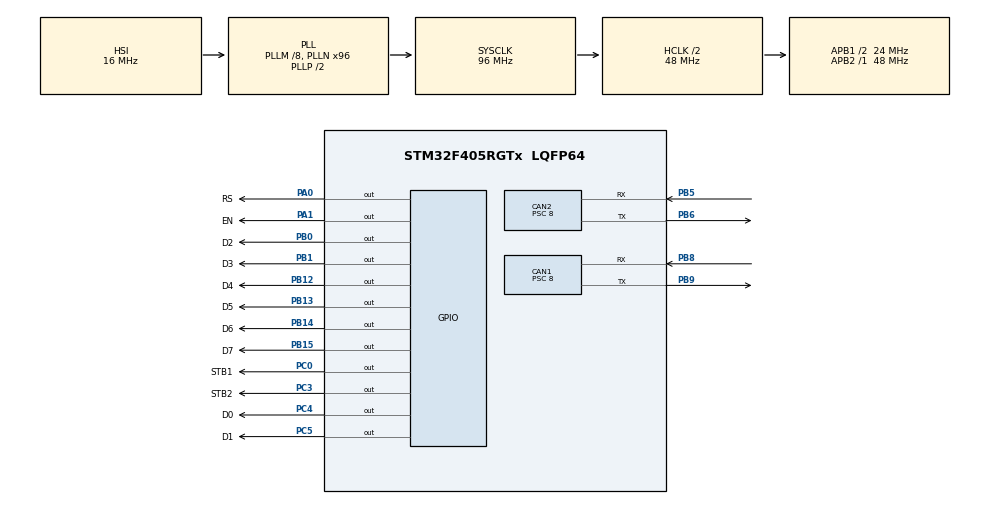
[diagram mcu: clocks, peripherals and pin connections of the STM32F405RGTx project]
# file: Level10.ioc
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CAN1.BS1=CAN_BS1_3TQ
CAN1.BS2=CAN_BS2_2TQ
CAN1.CalculateBaudRate=500000
CAN1.CalculateTimeBit=2000
CAN1.CalculateTimeQuantum=333.3333333333333
CAN1.Prescaler=8
CAN2.BS1=CAN_BS1_3TQ
CAN2.BS2=CAN_BS2_2TQ
CAN2.CalculateBaudRate=500000
CAN2.CalculateTimeBit=2000
CAN2.CalculateTimeQuantum=333.3333333333333
CAN2.Prescaler=8
Mcu.Family=STM32F4
Mcu.Name=STM32F405RGTx
Mcu.Package=LQFP64
NVIC.PriorityGroup=NVIC_PRIORITYGROUP_4
PA0-WKUP.GPIO_Label=RS
PA0-WKUP.Signal=GPIO_Output
PA1.GPIO_Label=EN
PA1.Signal=GPIO_Output
PA13.Mode=Serial_Wire
PA13.Signal=SYS_JTMS-SWDIO
PA14.Mode=Serial_Wire
PA14.Signal=SYS_JTCK-SWCLK
PB0.GPIO_Label=D2
PB0.Signal=GPIO_Output
PB1.GPIO_Label=D3
PB1.Signal=GPIO_Output
PB12.GPIO_Label=D4
PB12.Signal=GPIO_Output
PB13.GPIO_Label=D5
PB13.Signal=GPIO_Output
PB14.GPIO_Label=D6
PB14.Signal=GPIO_Output
PB15.GPIO_Label=D7
PB15.Signal=GPIO_Output
PB5.Mode=CAN_Activate
PB5.Signal=CAN2_RX
PB6.Mode=CAN_Activate
PB6.Signal=CAN2_TX
PB8.Mode=CAN_Activate
PB8.Signal=CAN1_RX
PB9.Mode=CAN_Activate
PB9.Signal=CAN1_TX
PC0.GPIO_Label=STB1
PC0.Signal=GPIO_Output
PC14-OSC32_IN.Mode=LSE-External-Oscillator
PC14-OSC32_IN.Signal=RCC_OSC32_IN
PC15-OSC32_OUT.Mode=LSE-External-Oscillator
PC15-OSC32_OUT.Signal=RCC_OSC32_OUT
PC3.GPIO_Label=STB2
PC3.Signal=GPIO_Output
PC4.GPIO_Label=D0
PC4.Signal=GPIO_Output
PC5.GPIO_Label=D1
PC5.Signal=GPIO_Output
PH0-OSC_IN.Mode=HSE-External-Oscillator
PH0-OSC_IN.Signal=RCC_OSC_IN
PH1-OSC_OUT.Mode=HSE-External-Oscillator
PH1-OSC_OUT.Signal=RCC_OSC_OUT
ProjectManager.HeapSize=0x200
ProjectManager.StackSize=0x400
ProjectManager.TargetToolchain=STM32CubeIDE
RCC.48MHZClocksFreq_Value=48000000
RCC.AHBCLKDivider=RCC_SYSCLK_DIV2
RCC.AHBFreq_Value=48000000
RCC.APB1CLKDivider=RCC_HCLK_DIV2
RCC.APB1Freq_Value=24000000
RCC.APB1TimFreq_Value=48000000
RCC.APB2Freq_Value=48000000
RCC.APB2TimFreq_Value=48000000
RCC.CortexFreq_Value=48000000
RCC.HCLKFreq_Value=48000000
RCC.HSE_VALUE=25000000
RCC.HSI_VALUE=16000000
RCC.PLLM=8
RCC.PLLN=96
RCC.SYSCLKFreq_VALUE=96000000
RCC.SYSCLKSource=RCC_SYSCLKSOURCE_PLLCLK
RCC.VCOOutputFreq_Value=192000000
board=custom

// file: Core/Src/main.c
/* USER CODE BEGIN Header */
/**
  ******************************************************************************
  * @file           : main.c
  * @brief          : Main program body
  ******************************************************************************
  * @attention
  *
  *
  *
  * This software is licensed under terms that can be found in the LICENSE file
  * in the root directory of this software component.
  * If no LICENSE file comes with this software, it is provided AS-IS.
  *
  ******************************************************************************
  */
/* USER CODE END Header */
#include "main.h"

CAN_HandleTypeDef hcan1;
CAN_HandleTypeDef hcan2;

/* USER CODE BEGIN PV */
CAN_TxHeaderTypeDef  p1header, p3header;
CAN_RxHeaderTypeDef  p2header, p4header;
uint32_t pTxMailbox[4], RxFifo[4];
CAN_FilterTypeDef  sFilterConfig;
uint8_t aData[8], received_data[8], received_data1[8];
uint8_t can_data, Can_id;
/* USER CODE END PV */

void SystemClock_Config(void);
static void MX_GPIO_Init(void);
static void MX_CAN1_Init(void);
static void MX_CAN2_Init(void);
/* USER CODE BEGIN PFP */
void lcd_init();
void cmd(unsigned char C);
void data(unsigned char D);
void display(unsigned char *ptr);
void numeric(unsigned int value);
/* USER CODE END PFP */

int main(void)
{

  /* MCU Configuration--------------------------------------------------------*/

  /* Reset of all peripherals, Initializes the Flash interface and the Systick. */
  HAL_Init();

  /* Configure the system clock */
  SystemClock_Config();

  /* Initialize all configured peripherals */
  MX_GPIO_Init();
  MX_CAN1_Init();
  MX_CAN2_Init();

  /* Infinite loop */
  /* USER CODE BEGIN WHILE */
	lcd_init();
	HAL_Delay(200);

	// Set Output pin STB1, STB2 as LOW
	HAL_GPIO_WritePin(GPIOC, STB1_Pin, GPIO_PIN_RESET);
	HAL_GPIO_WritePin(GPIOC, STB2_Pin, GPIO_PIN_RESET);

	// CAN Tx message header configuration
	p1header.DLC = 8;
	p1header.IDE = CAN_ID_STD;
	p1header.StdId = 0x001;
	p1header.RTR = CAN_RTR_DATA;

	// CAN Filter configuration
	sFilterConfig.FilterFIFOAssignment = CAN_FILTER_FIFO0;
	sFilterConfig.FilterIdHigh = 0x00C;
	sFilterConfig.FilterIdLow = 0x00A;
	sFilterConfig.FilterMaskIdHigh = 0;
	sFilterConfig.FilterMaskIdLow = 0;
	sFilterConfig.FilterScale = CAN_FILTERSCALE_32BIT;
	sFilterConfig.FilterActivation = ENABLE;
	HAL_CAN_ConfigFilter(&hcan1, &sFilterConfig);
	HAL_CAN_ConfigFilter(&hcan2, &sFilterConfig);

	// Start CAN transmission
	HAL_CAN_Start(&hcan1);
	HAL_CAN_Start(&hcan2);
  while (1)
  {
	// CAN1 send message and CAN2 receive
	HAL_CAN_AddTxMessage(&hcan1, &p1header, p1header.DLC, pTxMailbox[0]);
	HAL_CAN_GetRxMessage(&hcan2, RxFifo[0], &p2header, received_data);
	Can_id = p1header.StdId;

	if ((p2header.RTR == p1header.RTR) && (p2header.DLC == p1header.DLC)) // Compare remote frame (RTR & DLC)
	{
		p3header.StdId = p2header.StdId;
		p3header.DLC = p2header.DLC;
		aData[0] = 1;
		aData[1] = 2;
		aData[2] = 3;
		aData[3] = 4;
		aData[4] = 5;
		aData[5] = 6;
		aData[6] = 7;
		aData[7] = 8;

		// CAN2 send message and CAN1 receive
		HAL_CAN_AddTxMessage(&hcan2, &p3header, aData, pTxMailbox[1]);// Send CAN data of 2 bytes in CAN
		HAL_CAN_GetRxMessage(&hcan1, RxFifo[1], &p4header, received_data1);
		Can_id = p3header.StdId;

		// LCD display received data
		cmd(0x80);
		display("REMOTE FRAME");
		cmd(0xc0);
		numeric(received_data1[0]);
		cmd(0xc3);
		numeric(received_data1[1]);
	}
    /* USER CODE END WHILE */

  }
}

void SystemClock_Config(void)
{
  RCC_OscInitTypeDef RCC_OscInitStruct = {0};
  RCC_ClkInitTypeDef RCC_ClkInitStruct = {0};

  /** Configure the main internal regulator output voltage
  */
  __HAL_RCC_PWR_CLK_ENABLE();
  __HAL_PWR_VOLTAGESCALING_CONFIG(PWR_REGULATOR_VOLTAGE_SCALE1);

  /** Initializes the RCC Oscillators according to the specified parameters
  * in the RCC_OscInitTypeDef structure.
  */
  RCC_OscInitStruct.OscillatorType = RCC_OSCILLATORTYPE_HSI;
  RCC_OscInitStruct.HSIState = RCC_HSI_ON;
  RCC_OscInitStruct.HSICalibrationValue = RCC_HSICALIBRATION_DEFAULT;
  RCC_OscInitStruct.PLL.PLLState = RCC_PLL_ON;
  RCC_OscInitStruct.PLL.PLLSource = RCC_PLLSOURCE_HSI;
  RCC_OscInitStruct.PLL.PLLM = 8;
  RCC_OscInitStruct.PLL.PLLN = 96;
  RCC_OscInitStruct.PLL.PLLP = RCC_PLLP_DIV2;
  RCC_OscInitStruct.PLL.PLLQ = 4;
  if (HAL_RCC_OscConfig(&RCC_OscInitStruct) != HAL_OK)
  {
    Error_Handler();
  }

  /** Initializes the CPU, AHB and APB buses clocks
  */
  RCC_ClkInitStruct.ClockType = RCC_CLOCKTYPE_HCLK|RCC_CLOCKTYPE_SYSCLK
                              |RCC_CLOCKTYPE_PCLK1|RCC_CLOCKTYPE_PCLK2;
  RCC_ClkInitStruct.SYSCLKSource = RCC_SYSCLKSOURCE_PLLCLK;
  RCC_ClkInitStruct.AHBCLKDivider = RCC_SYSCLK_DIV2;
  RCC_ClkInitStruct.APB1CLKDivider = RCC_HCLK_DIV2;
  RCC_ClkInitStruct.APB2CLKDivider = RCC_HCLK_DIV1;

  if (HAL_RCC_ClockConfig(&RCC_ClkInitStruct, FLASH_LATENCY_1) != HAL_OK)
  {
    Error_Handler();
  }
}

static void MX_CAN1_Init(void)
{

  hcan1.Instance = CAN1;
  hcan1.Init.Prescaler = 8;
  hcan1.Init.Mode = CAN_MODE_NORMAL;
  hcan1.Init.SyncJumpWidth = CAN_SJW_1TQ;
  hcan1.Init.TimeSeg1 = CAN_BS1_3TQ;
  hcan1.Init.TimeSeg2 = CAN_BS2_2TQ;
  hcan1.Init.TimeTriggeredMode = DISABLE;
  hcan1.Init.AutoBusOff = DISABLE;
  hcan1.Init.AutoWakeUp = DISABLE;
  hcan1.Init.AutoRetransmission = DISABLE;
  hcan1.Init.ReceiveFifoLocked = DISABLE;
  hcan1.Init.TransmitFifoPriority = DISABLE;
  if (HAL_CAN_Init(&hcan1) != HAL_OK)
  {
    Error_Handler();
  }

}

static void MX_CAN2_Init(void)
{

  hcan2.Instance = CAN2;
  hcan2.Init.Prescaler = 8;
  hcan2.Init.Mode = CAN_MODE_NORMAL;
  hcan2.Init.SyncJumpWidth = CAN_SJW_1TQ;
  hcan2.Init.TimeSeg1 = CAN_BS1_3TQ;
  hcan2.Init.TimeSeg2 = CAN_BS2_2TQ;
  hcan2.Init.TimeTriggeredMode = DISABLE;
  hcan2.Init.AutoBusOff = DISABLE;
  hcan2.Init.AutoWakeUp = DISABLE;
  hcan2.Init.AutoRetransmission = DISABLE;
  hcan2.Init.ReceiveFifoLocked = DISABLE;
  hcan2.Init.TransmitFifoPriority = DISABLE;
  if (HAL_CAN_Init(&hcan2) != HAL_OK)
  {
    Error_Handler();
  }

}

static void MX_GPIO_Init(void)
{
  GPIO_InitTypeDef GPIO_InitStruct = {0};

  /* GPIO Ports Clock Enable */
  __HAL_RCC_GPIOC_CLK_ENABLE();
  __HAL_RCC_GPIOH_CLK_ENABLE();
  __HAL_RCC_GPIOA_CLK_ENABLE();
  __HAL_RCC_GPIOB_CLK_ENABLE();

  /*Configure GPIO pin Output Level */
  HAL_GPIO_WritePin(GPIOC, STB1_Pin|STB2_Pin|D0_Pin|D1_Pin, GPIO_PIN_RESET);

  /*Configure GPIO pin Output Level */
  HAL_GPIO_WritePin(GPIOA, RS_Pin|EN_Pin, GPIO_PIN_RESET);

  /*Configure GPIO pin Output Level */
  HAL_GPIO_WritePin(GPIOB, D2_Pin|D3_Pin|D4_Pin|D5_Pin
                          |D6_Pin|D7_Pin, GPIO_PIN_RESET);

  /*Configure GPIO pins : STB1_Pin STB2_Pin D0_Pin D1_Pin */
  GPIO_InitStruct.Pin = STB1_Pin|STB2_Pin|D0_Pin|D1_Pin;
  GPIO_InitStruct.Mode = GPIO_MODE_OUTPUT_PP;
  GPIO_InitStruct.Pull = GPIO_NOPULL;
  GPIO_InitStruct.Speed = GPIO_SPEED_FREQ_LOW;
  HAL_GPIO_Init(GPIOC, &GPIO_InitStruct);

  /*Configure GPIO pins : RS_Pin EN_Pin */
  GPIO_InitStruct.Pin = RS_Pin|EN_Pin;
  GPIO_InitStruct.Mode = GPIO_MODE_OUTPUT_PP;
  GPIO_InitStruct.Pull = GPIO_NOPULL;
  GPIO_InitStruct.Speed = GPIO_SPEED_FREQ_LOW;
  HAL_GPIO_Init(GPIOA, &GPIO_InitStruct);

  /*Configure GPIO pins : D2_Pin D3_Pin D4_Pin D5_Pin
                           D6_Pin D7_Pin */
  GPIO_InitStruct.Pin = D2_Pin|D3_Pin|D4_Pin|D5_Pin
                          |D6_Pin|D7_Pin;
  GPIO_InitStruct.Mode = GPIO_MODE_OUTPUT_PP;
  GPIO_InitStruct.Pull = GPIO_NOPULL;
  GPIO_InitStruct.Speed = GPIO_SPEED_FREQ_LOW;
  HAL_GPIO_Init(GPIOB, &GPIO_InitStruct);

}

/* USER CODE BEGIN 4 */
void lcd_init()
{
	HAL_Delay(10);
	cmd(0x01);
	cmd(0x38);
	cmd(0x06);
	cmd(0x0C);
	HAL_Delay(10);
}

void cmd(unsigned char C)
{
	HAL_GPIO_WritePin(GPIOA, RS_Pin, 0);
	HAL_GPIO_WritePin(GPIOC, D0_Pin,(C&0X01));
	HAL_GPIO_WritePin(GPIOC, D1_Pin,(C&0X02));
	HAL_GPIO_WritePin(GPIOB, D2_Pin,(C&0X04));
	HAL_GPIO_WritePin(GPIOB, D3_Pin,(C&0X08));
	HAL_GPIO_WritePin(GPIOB, D4_Pin,(C&0X10));
	HAL_GPIO_WritePin(GPIOB, D5_Pin,(C&0X20));
	HAL_GPIO_WritePin(GPIOB, D6_Pin,(C&0X40));
	HAL_GPIO_WritePin(GPIOB, D7_Pin,(C&0X80));
	HAL_GPIO_WritePin(GPIOA, EN_Pin, 1);
	HAL_Delay(5);
	HAL_GPIO_WritePin(GPIOA, EN_Pin, 0);
	HAL_Delay(5);
}

void data (unsigned char D)
{
	HAL_GPIO_WritePin(GPIOA, RS_Pin, 1);
	HAL_GPIO_WritePin(GPIOC, D0_Pin,(D&0X01));
	HAL_GPIO_WritePin(GPIOC, D1_Pin,(D&0X02));
	HAL_GPIO_WritePin(GPIOB, D2_Pin,(D&0X04));
	HAL_GPIO_WritePin(GPIOB, D3_Pin,(D&0X08));
	HAL_GPIO_WritePin(GPIOB, D4_Pin,(D&0X10));
	HAL_GPIO_WritePin(GPIOB, D5_Pin,(D&0X20));
	HAL_GPIO_WritePin(GPIOB, D6_Pin,(D&0X40));
	HAL_GPIO_WritePin(GPIOB, D7_Pin,(D&0X80));
	HAL_GPIO_WritePin(GPIOA, EN_Pin, 1);
	HAL_Delay(5);
	HAL_GPIO_WritePin(GPIOA, EN_Pin, 0);
	HAL_Delay(5);
}

void display(unsigned char *ptr)
{
	while(*ptr!='\0')
	{
		data(*ptr++);
		HAL_Delay(2);
	}
}

void numeric(unsigned int value)
{
	data(((value%100)/10)+0x30);
	data((value%10)+0x30);
}

/* USER CODE END 4 */

void Error_Handler(void)
{
  __disable_irq();
  while (1)
  {
  }
}
